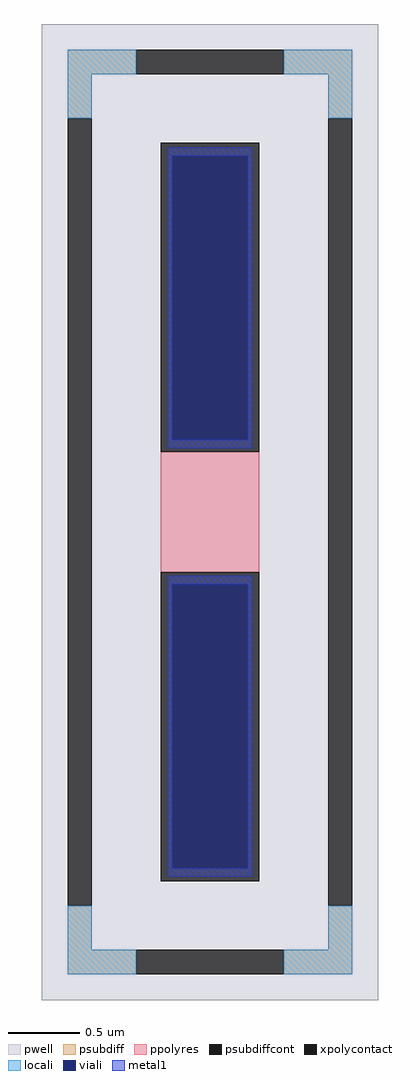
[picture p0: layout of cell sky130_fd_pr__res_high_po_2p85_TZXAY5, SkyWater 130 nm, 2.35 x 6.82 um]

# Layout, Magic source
magic
tech sky130A
magscale 1 2
<< pwell >>
rect -235 -682 235 682
<< psubdiff >>
rect -199 612 -103 646
rect 103 612 199 646
rect -199 550 -165 612
rect 165 550 199 612
rect -199 -612 -165 -550
rect 165 -612 199 -550
rect -199 -646 -103 -612
rect 103 -646 199 -612
<< psubdiffcont >>
rect -103 612 103 646
rect -199 -550 -165 550
rect 165 -550 199 550
rect -103 -646 103 -612
<< xpolycontact >>
rect -69 84 69 516
rect -69 -516 69 -84
<< ppolyres >>
rect -69 -84 69 84
<< locali >>
rect -199 612 -103 646
rect 103 612 199 646
rect -199 550 -165 612
rect 165 550 199 612
rect -199 -612 -165 -550
rect 165 -612 199 -550
rect -199 -646 -103 -612
rect 103 -646 199 -612
<< viali >>
rect -53 101 53 498
rect -53 -498 53 -101
<< metal1 >>
rect -59 498 59 510
rect -59 101 -53 498
rect 53 101 59 498
rect -59 89 59 101
rect -59 -101 59 -89
rect -59 -498 -53 -101
rect 53 -498 59 -101
rect -59 -510 59 -498
<< properties >>
string FIXED_BBOX -182 -629 182 629
string gencell sky130_fd_pr__res_high_po_2p85
string library sky130
string parameters w 0.690 l 1 m 1 nx 1 wmin 0.690 lmin 0.50 class resistor rho 319.8 val 1.028k dummy 0 dw 0.0 term 194.82 sterm 0.0 caplen 0 guard 1 glc 1 grc 1 gtc 1 gbc 1 compatible {sky130_fd_pr__res_high_po_0p35  sky130_fd_pr__res_high_po_0p69 sky130_fd_pr__res_high_po_1p41  sky130_fd_pr__res_high_po_2p85 sky130_fd_pr__res_high_po_5p73} snake 0 full_metal 1 wmax 0.690 n_guard 0 hv_guard 0 vias 1 viagb 0 viagt 0 viagl 0 viagr 0
<< end >>
